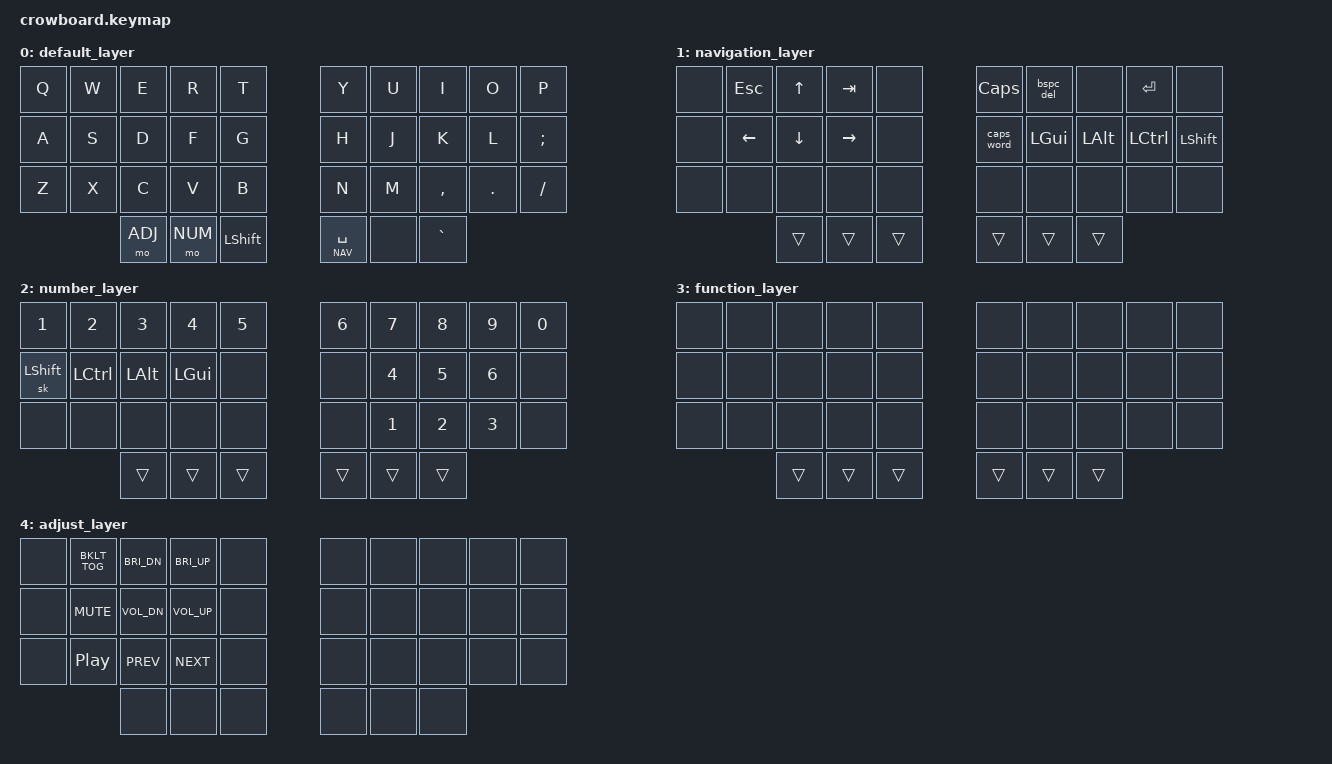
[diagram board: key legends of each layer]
#include <behaviors.dtsi>
#include <dt-bindings/zmk/keys.h>

#define BASE 0
#define NAV  1
#define NUM  2
#define ADJ  3
#define FUN  4

/ {
        behaviors {
                bspc_del: backspace_delete {
                        compatible = "zmk,behavior-mod-morph";
                        label = "BACKSPACE_DELETE";
                        #binding-cells = <0>;
                        bindings = <&kp BACKSPACE>, <&kp DELETE>;
                        mods = <(MOD_LSFT|MOD_RSFT)>;
                        keep-mods = <(MOD_RSFT)>;
                };
        };
        
        keymap {
                compatible = "zmk,keymap";
                
                default_layer {
                       bindings = <
                                &kp Q &kp W &kp E &kp R &kp T   &kp Y &kp U &kp I     &kp O   &kp P
                                &kp A &kp S &kp D &kp F &kp G   &kp H &kp J &kp K     &kp L   &kp SEMI
                                &kp Z &kp X &kp C &kp V &kp B   &kp N &kp M &kp COMMA &kp DOT &kp FSLH
                                    &mo ADJ &mo NUM &kp LSHFT   &lt NAV SPACE &none &kp GRAVE
                        >;
                };

                navigation_layer {
                        bindings = <
                                &none &kp ESC  &kp UP   &kp TAB   &none   &kp CAPS   &bspc_del &none    &kp ENTER &none
                                &none &kp LEFT &kp DOWN &kp RIGHT &none   &caps_word &kp LGUI  &kp LALT &kp LCTRL &kp LSHFT
                                &none &none    &none    &none     &none   &none      &none &none &none &none
                                                   &trans &trans &trans   &trans &trans &trans
                        >;
                };

                number_layer {
                        bindings = <
                                &kp N1    &kp N2    &kp N3   &kp N4   &kp N5   &kp N6 &kp N7 &kp N8 &kp N9 &kp N0
                                &sk LSHFT &kp LCTRL &kp LALT &kp LGUI &none    &none  &kp N4 &kp N5 &kp N6 &none 
                                &none     &none     &none    &none    &none    &none  &kp N1 &kp N2 &kp N3 &none 
                                                       &trans &trans &trans    &trans &trans &trans
                        >;
                };

                function_layer {
                        bindings = <
                                &none &none &none &none &none   &none &none &none &none &none
                                &none &none &none &none &none   &none &none &none &none &none
                                &none &none &none &none &none   &none &none &none &none &none
                                         &trans &trans &trans   &trans &trans &trans
                        >;
                };

                adjust_layer {
                        bindings = <
                                &none &kp C_BKLT_TOG   &kp C_BRI_DN &kp C_BRI_UP &none   &none &none &none &none &none
                                &none &kp C_MUTE       &kp C_VOL_DN &kp C_VOL_UP &none   &none &none &none &none &none
                                &none &kp C_PLAY_PAUSE &kp C_PREV   &kp C_NEXT   &none   &none &none &none &none &none
                                                                     &none &none &none   &none &none &none
                        >;
                };
        };
};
